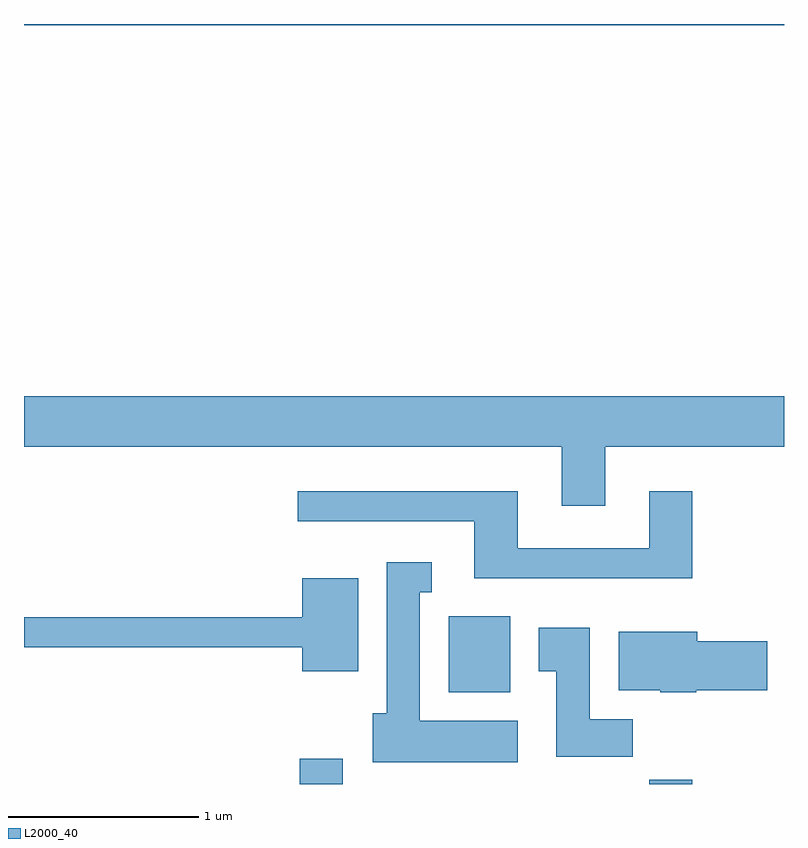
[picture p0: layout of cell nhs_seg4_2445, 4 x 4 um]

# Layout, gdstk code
import gdstk
lib = gdstk.Library(unit=1e-6, precision=1e-09)
def R(c, l, rs):  # rectangles x0, y0, x1, y1
    for r in rs: c.add(gdstk.rectangle(r[:2], r[2:], *l))
def P(c, l, *ps):  # polygons
    for p in ps: c.add(gdstk.Polygon(p, *l))
L2000_40 = (2000, 40)

nhs_seg4_2445 = lib.new_cell('nhs_seg4_2445')
R(nhs_seg4_2445, L2000_40, [(257.061,1383.982,257.289,1384.114), (258.901,1383.982,259.129,1384.004), (257.846,1384.466,258.169,1384.864), (255.611,1387.976,259.611,1387.982)])
P(nhs_seg4_2445, L2000_40, [(258.669,1385.756),(259.611,1385.756),(259.611,1386.024),(255.611,1386.024),(255.611,1385.756),(258.441,1385.756),(258.441,1385.446),(258.669,1385.446)],
  [(259.129,1385.524),(258.901,1385.524),(258.901,1385.224),(258.209,1385.224),(258.209,1385.524),(257.053,1385.524),(257.053,1385.366),(257.981,1385.366),(257.981,1385.066),(259.129,1385.066)],
  [(258.209,1384.314),(257.694,1384.314),(257.694,1384.991),(257.758,1384.991),(257.758,1385.149),(257.521,1385.149),(257.521,1384.354),(257.446,1384.354),(257.446,1384.096),(258.209,1384.096)],
  [(257.369,1385.064),(257.076,1385.064),(257.076,1384.859),(255.611,1384.859),(255.611,1384.701),(257.076,1384.701),(257.076,1384.576),(257.369,1384.576)],
  [(258.814,1384.324),(258.589,1384.324),(258.589,1384.804),(258.321,1384.804),(258.321,1384.576),(258.411,1384.576),(258.411,1384.126),(258.814,1384.126)],
  [(259.15,1384.476),(259.524,1384.476),(259.524,1384.734),(259.154,1384.734),(259.154,1384.784),(258.741,1384.784),(258.741,1384.476),(258.96,1384.476),(258.96,1384.466),(259.15,1384.466)])

lib.write_gds('nhs_seg4_2445.gds')
